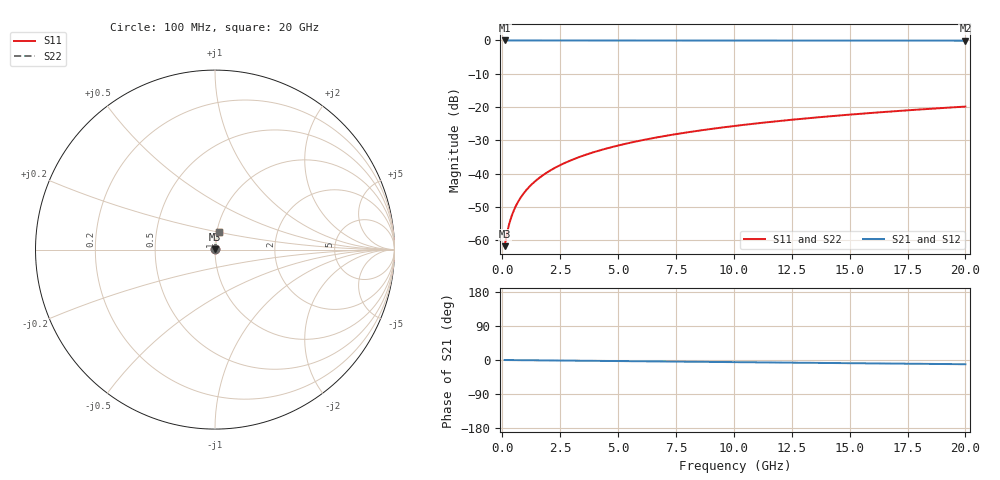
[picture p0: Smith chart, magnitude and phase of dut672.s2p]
! Touchstone file exported from HFSS 2026.1.0
!  File:  C:/ffzhzh/LocalFiles/Ansys_Project_Files/temp_train_TSV_672_1783027181_51716.aedt
!  Generated:  05:22:04 AM Jul  3, 2026
!  Design:  TSV
!  Project:  temp_train_TSV_672_1783027181_51716
! Variables:
!  h_bsmrdl = 2um
!  h_ox = 20um
!  h_rdl = 5um
!  h_sub = 94.97um
!  h_tmrdl = 5um
!  h_tsv = 94.97um
!  h_via = 3um
!  l_bsmrdl = 300um
!  l_sub = 408.7um
!  l_tmrdl = 200um
!  m_sub = 200um
!  pitch = 44.45um
!  r_tsv = 4.35um
!  s_tmrdl = 10um
!  w_bsmrdl = 18um
!  w_sub = 500um
!  w_tmrdl = 12um
!  x_tsv_center1 = 206um
!  x_tsv_center2 = 524um
!  x_tsv_center3 = 736um
!  x_tsv_center4 = 1054um
!  x_tsv_center5 = 1266um
!  x_tsv_center6 = 1584um
# GHz S MA R 50.000000
! Terminal data exported
! Port[1] = TSV1_1_T1
! Port[2] = TSV1_1_T2
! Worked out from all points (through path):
!   200 points, 100 MHz to 20 GHz, reference 50 ohm
!   highest |S21| = -0.01 dB at 100 MHz (marker M1); lowest = -0.1 dB at 20 GHz (marker M2)
!   group delay of S21, straight-line fit = 1.55 ps
!   lowest |S11| = -61.7 dB at 100 MHz (marker M3), VSWR 1.00, Z = 50.1 + j0.0558 ohm
!   |S11| at or under -10 dB: start of sweep to end of sweep
!   |S22| runs from -61.7 to -19.8 dB; largest |S21 - S12| = 2.1e-15
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0.1  0.0008199 42.9  0.9994 -0.1  0.9994 -0.1  0.0008199 42.9
! Gamma 0 0 0 0
! Port Impedance 50 0 50 0
0.2  0.00127 61.2  0.9994 -0.1  0.9994 -0.1  0.00127 61.2
0.3  0.001778 69.3  0.9994 -0.2  0.9994 -0.2  0.001778 69.3
0.4  0.002301 73.7  0.9994 -0.2  0.9994 -0.2  0.002301 73.7
0.5  0.00283 76.4  0.9993 -0.3  0.9993 -0.3  0.00283 76.4
0.6  0.003361 78.2  0.9993 -0.3  0.9993 -0.3  0.003361 78.2
0.8  0.004425 80.5  0.9993 -0.5  0.9993 -0.5  0.004425 80.5
1.1  0.006025 82.4  0.9992 -0.6  0.9992 -0.6  0.006025 82.4
1.5  0.008159 83.6  0.9992 -0.9  0.9992 -0.9  0.008159 83.6
1.8  0.009757 84.1  0.9991 -1.0  0.9991 -1.0  0.009757 84.1
2.1  0.01135 84.4  0.9991 -1.2  0.9991 -1.2  0.01135 84.4
2.7  0.01453 84.6  0.9989 -1.5  0.9989 -1.5  0.01453 84.6
3.5  0.01873 84.6  0.9987 -2.0  0.9987 -2.0  0.01873 84.6
4.2  0.02238 84.5  0.9985 -2.4  0.9985 -2.4  0.02238 84.5
5  0.02652 84.2  0.9983 -2.8  0.9983 -2.8  0.02652 84.2
5.9  0.03115 83.9  0.998 -3.3  0.998 -3.3  0.03115 83.9
6.8  0.03575 83.5  0.9977 -3.8  0.9977 -3.8  0.03575 83.5
8.3  0.04338 82.9  0.9972 -4.7  0.9972 -4.7  0.04338 82.9
10.1  0.0525 82.1  0.9966 -5.7  0.9966 -5.7  0.0525 82.1
13.4  0.0691 80.6  0.9953 -7.5  0.9953 -7.5  0.0691 80.6
16.7  0.08554 78.9  0.9938 -9.3  0.9938 -9.3  0.08554 78.9
20  0.1018 77.3  0.992 -11.2  0.992 -11.2  0.1018 77.3
